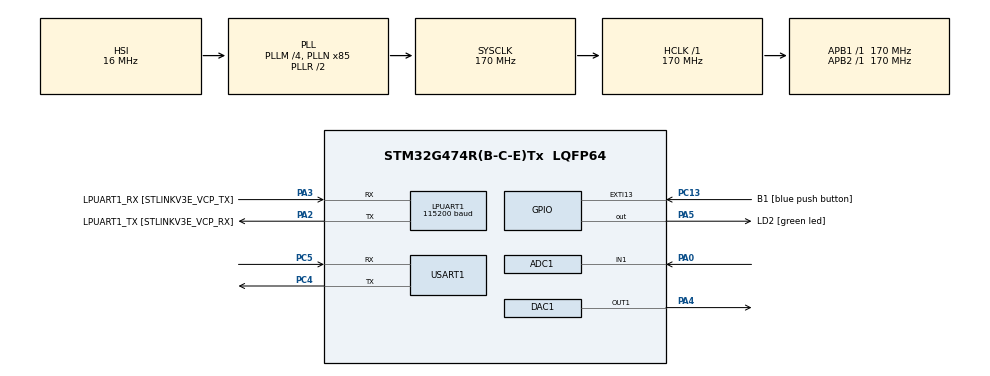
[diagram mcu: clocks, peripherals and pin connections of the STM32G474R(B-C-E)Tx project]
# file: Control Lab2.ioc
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ADC1.Channel-0\#ChannelRegularConversion=ADC_CHANNEL_1
ADC1.NbrOfConversionFlag=1
ADC1.OffsetNumber-0\#ChannelRegularConversion=ADC_OFFSET_NONE
ADC1.Rank-0\#ChannelRegularConversion=1
ADC1.SamplingTime-0\#ChannelRegularConversion=ADC_SAMPLETIME_2CYCLES_5
ADC1.master=1
LPUART1.BaudRate=115200
LPUART1.WordLength=UART_WORDLENGTH_8B
Mcu.Family=STM32G4
Mcu.Name=STM32G474R(B-C-E)Tx
Mcu.Package=LQFP64
NVIC.EXTI15_10_IRQn=true\:0\:0\:false\:false\:true\:true\:true\:true
NVIC.PriorityGroup=NVIC_PRIORITYGROUP_4
PA0.Mode=IN1-Single-Ended
PA0.Signal=ADC1_IN1
PA13.GPIO_Label=T_SWDIO
PA13.Mode=Trace_Asynchronous_SW
PA13.Signal=SYS_JTMS-SWDIO
PA14.GPIO_Label=T_SWCLK
PA14.Mode=Trace_Asynchronous_SW
PA14.Signal=SYS_JTCK-SWCLK
PA2.GPIO_Label=LPUART1_TX [STLINKV3E_VCP_RX]
PA2.Mode=Asynchronous
PA2.Signal=LPUART1_TX
PA3.GPIO_Label=LPUART1_RX [STLINKV3E_VCP_TX]
PA3.Mode=Asynchronous
PA3.Signal=LPUART1_RX
PA4.Signal=COMP_DAC11_group
PA5.GPIO_Label=LD2 [green led]
PA5.Signal=GPIO_Output
PB3.GPIO_Label=T_SWO
PB3.Mode=Trace_Asynchronous_SW
PB3.Signal=SYS_JTDO-SWO
PC13.GPIO_Label=B1 [blue push button]
PC13.Signal=GPXTI13
PC14-OSC32_IN.Mode=LSE-External-Oscillator
PC14-OSC32_IN.Signal=RCC_OSC32_IN
PC15-OSC32_OUT.Mode=LSE-External-Oscillator
PC15-OSC32_OUT.Signal=RCC_OSC32_OUT
PC4.Mode=Asynchronous
PC4.Signal=USART1_TX
PC5.Mode=Asynchronous
PC5.Signal=USART1_RX
PF0-OSC_IN.Mode=HSE-External-Oscillator
PF0-OSC_IN.Signal=RCC_OSC_IN
PF1-OSC_OUT.Mode=HSE-External-Oscillator
PF1-OSC_OUT.Signal=RCC_OSC_OUT
ProjectManager.HeapSize=0x200
ProjectManager.StackSize=0x400
ProjectManager.TargetToolchain=STM32CubeIDE
RCC.ADC12Freq_Value=170000000
RCC.ADC345Freq_Value=170000000
RCC.AHBFreq_Value=170000000
RCC.APB1Freq_Value=170000000
RCC.APB1TimFreq_Value=170000000
RCC.APB2Freq_Value=170000000
RCC.APB2TimFreq_Value=170000000
RCC.CortexFreq_Value=170000000
RCC.EXTERNAL_CLOCK_VALUE=12288000
RCC.HCLKFreq_Value=170000000
RCC.HSE_VALUE=24000000
RCC.HSI48_VALUE=48000000
RCC.HSI_VALUE=16000000
RCC.PLLM=RCC_PLLM_DIV4
RCC.PLLN=85
RCC.RTCClockSelection=RCC_RTCCLKSOURCE_LSE
RCC.SYSCLKFreq_VALUE=170000000
RCC.SYSCLKSource=RCC_SYSCLKSOURCE_PLLCLK
RCC.USBFreq_Value=170000000
RCC.VCOOutputFreq_Value=340000000
SH.COMP_DAC11_group.0=DAC1_OUT1,DAC_OUT1
USART1.VirtualMode-Asynchronous=VM_ASYNC
VP_SYS_VS_DBSignals.Mode=DisableDeadBatterySignals
board=NUCLEO-G474RE

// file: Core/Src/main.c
/* USER CODE BEGIN Header */
/**
  ******************************************************************************
  * @file           : main.c
  * @brief          : Main program body
  ******************************************************************************
  * @attention
  *
  * Copyright (c) 2024 STMicroelectronics.
  * All rights reserved.
  *
  * This software is licensed under terms that can be found in the LICENSE file
  * in the root directory of this software component.
  * If no LICENSE file comes with this software, it is provided AS-IS.
  *
  ******************************************************************************
  */
/* USER CODE END Header */
#include "main.h"

ADC_HandleTypeDef hadc1;

DAC_HandleTypeDef hdac1;

UART_HandleTypeDef hlpuart1;
UART_HandleTypeDef huart1;

/* USER CODE BEGIN PV */
uint16_t DAC_Output=0;

struct _ADC_tag
{
	ADC_ChannelConfTypeDef Config;
	uint16_t data;
};

struct _ADC_tag ADC1_Channel[1] =
{
	{
	.Config.Channel = ADC_CHANNEL_1,
	.Config.Rank = ADC_REGULAR_RANK_1,
	.Config.SamplingTime = ADC_SAMPLETIME_640CYCLES_5,
	.Config.SingleDiff = ADC_SINGLE_ENDED,
	.Config.OffsetNumber = ADC_OFFSET_NONE,
	.Config.Offset = 0,
	.data = 0
	},
};

float K_t = 0.0792;
float T = 1;
float y = 0; // omega
float J = 0.00371;
float L = 0.09;
float R = 22.88;
float B = 0.00106;
float K_e = 0.0792;
float y_n = 0;
float y_n_1 = 0;
float y_n_2 = 0;
float y_out = 0;
float V_in = 0;
int x = 0;
/* USER CODE END PV */

void SystemClock_Config(void);
static void MX_GPIO_Init(void);
static void MX_LPUART1_UART_Init(void);
static void MX_ADC1_Init(void);
static void MX_DAC1_Init(void);
static void MX_USART1_UART_Init(void);
/* USER CODE BEGIN PFP */
void DAC_Update();
void ADC_Read_blocking();
/* USER CODE END PFP */

int main(void)
{

  /* MCU Configuration--------------------------------------------------------*/

  /* Reset of all peripherals, Initializes the Flash interface and the Systick. */
  HAL_Init();

  /* Configure the system clock */
  SystemClock_Config();

  /* Initialize all configured peripherals */
  MX_GPIO_Init();
  MX_LPUART1_UART_Init();
  MX_ADC1_Init();
  MX_DAC1_Init();
  MX_USART1_UART_Init();
  /* USER CODE BEGIN 2 */
  HAL_ADCEx_Calibration_Start(&hadc1, ADC_SINGLE_ENDED);
  HAL_DAC_SetValue(&hdac1, DAC_CHANNEL_1, DAC_ALIGN_12B_R, 2048);
  HAL_DAC_Start(&hdac1, DAC_CHANNEL_1);
  float num;
  float den;
  /* USER CODE END 2 */

  /* Infinite loop */
  while (1)
  {

    /* USER CODE BEGIN 3 */
	  static uint32_t timeStamp =0;
	  if(HAL_GetTick()>timeStamp)
	  {
		  timeStamp = HAL_GetTick()+500;
		  ADC_Read_blocking();
		  V_in = ADC1_Channel[0].data*12/4096;

		  num = (V_in*K_t*T*T) -(y_n_2*J*L) + (y_n_1*(2*J*L+J*T*R+B*L*T));
		  den = J*L+J*T*R+B*L*T+R*B*T*T+K_t*K_e*T*T;

		  y = num / den;

		  y_n_2 = y_n_1;
		  y_n_1 = y;

		  y_out = (1.65+(y/100)) * 2048 / 3.3;
		  DAC_Update();

	  }
  }
  /* USER CODE END 3 */
}

void SystemClock_Config(void)
{
  RCC_OscInitTypeDef RCC_OscInitStruct = {0};
  RCC_ClkInitTypeDef RCC_ClkInitStruct = {0};

  /** Configure the main internal regulator output voltage
  */
  HAL_PWREx_ControlVoltageScaling(PWR_REGULATOR_VOLTAGE_SCALE1_BOOST);

  /** Initializes the RCC Oscillators according to the specified parameters
  * in the RCC_OscInitTypeDef structure.
  */
  RCC_OscInitStruct.OscillatorType = RCC_OSCILLATORTYPE_HSI;
  RCC_OscInitStruct.HSIState = RCC_HSI_ON;
  RCC_OscInitStruct.HSICalibrationValue = RCC_HSICALIBRATION_DEFAULT;
  RCC_OscInitStruct.PLL.PLLState = RCC_PLL_ON;
  RCC_OscInitStruct.PLL.PLLSource = RCC_PLLSOURCE_HSI;
  RCC_OscInitStruct.PLL.PLLM = RCC_PLLM_DIV4;
  RCC_OscInitStruct.PLL.PLLN = 85;
  RCC_OscInitStruct.PLL.PLLP = RCC_PLLP_DIV2;
  RCC_OscInitStruct.PLL.PLLQ = RCC_PLLQ_DIV2;
  RCC_OscInitStruct.PLL.PLLR = RCC_PLLR_DIV2;
  if (HAL_RCC_OscConfig(&RCC_OscInitStruct) != HAL_OK)
  {
    Error_Handler();
  }

  /** Initializes the CPU, AHB and APB buses clocks
  */
  RCC_ClkInitStruct.ClockType = RCC_CLOCKTYPE_HCLK|RCC_CLOCKTYPE_SYSCLK
                              |RCC_CLOCKTYPE_PCLK1|RCC_CLOCKTYPE_PCLK2;
  RCC_ClkInitStruct.SYSCLKSource = RCC_SYSCLKSOURCE_PLLCLK;
  RCC_ClkInitStruct.AHBCLKDivider = RCC_SYSCLK_DIV1;
  RCC_ClkInitStruct.APB1CLKDivider = RCC_HCLK_DIV1;
  RCC_ClkInitStruct.APB2CLKDivider = RCC_HCLK_DIV1;

  if (HAL_RCC_ClockConfig(&RCC_ClkInitStruct, FLASH_LATENCY_4) != HAL_OK)
  {
    Error_Handler();
  }
}

static void MX_ADC1_Init(void)
{

  ADC_MultiModeTypeDef multimode = {0};
  ADC_ChannelConfTypeDef sConfig = {0};

  /** Common config
  */
  hadc1.Instance = ADC1;
  hadc1.Init.ClockPrescaler = ADC_CLOCK_SYNC_PCLK_DIV4;
  hadc1.Init.Resolution = ADC_RESOLUTION_12B;
  hadc1.Init.DataAlign = ADC_DATAALIGN_RIGHT;
  hadc1.Init.GainCompensation = 0;
  hadc1.Init.ScanConvMode = ADC_SCAN_DISABLE;
  hadc1.Init.EOCSelection = ADC_EOC_SINGLE_CONV;
  hadc1.Init.LowPowerAutoWait = DISABLE;
  hadc1.Init.ContinuousConvMode = DISABLE;
  hadc1.Init.NbrOfConversion = 1;
  hadc1.Init.DiscontinuousConvMode = DISABLE;
  hadc1.Init.ExternalTrigConv = ADC_SOFTWARE_START;
  hadc1.Init.ExternalTrigConvEdge = ADC_EXTERNALTRIGCONVEDGE_NONE;
  hadc1.Init.DMAContinuousRequests = DISABLE;
  hadc1.Init.Overrun = ADC_OVR_DATA_PRESERVED;
  hadc1.Init.OversamplingMode = DISABLE;
  if (HAL_ADC_Init(&hadc1) != HAL_OK)
  {
    Error_Handler();
  }

  /** Configure the ADC multi-mode
  */
  multimode.Mode = ADC_MODE_INDEPENDENT;
  if (HAL_ADCEx_MultiModeConfigChannel(&hadc1, &multimode) != HAL_OK)
  {
    Error_Handler();
  }

  /** Configure Regular Channel
  */
  sConfig.Channel = ADC_CHANNEL_1;
  sConfig.Rank = ADC_REGULAR_RANK_1;
  sConfig.SamplingTime = ADC_SAMPLETIME_2CYCLES_5;
  sConfig.SingleDiff = ADC_SINGLE_ENDED;
  sConfig.OffsetNumber = ADC_OFFSET_NONE;
  sConfig.Offset = 0;
  if (HAL_ADC_ConfigChannel(&hadc1, &sConfig) != HAL_OK)
  {
    Error_Handler();
  }

}

static void MX_DAC1_Init(void)
{

  DAC_ChannelConfTypeDef sConfig = {0};

  /** DAC Initialization
  */
  hdac1.Instance = DAC1;
  if (HAL_DAC_Init(&hdac1) != HAL_OK)
  {
    Error_Handler();
  }

  /** DAC channel OUT1 config
  */
  sConfig.DAC_HighFrequency = DAC_HIGH_FREQUENCY_INTERFACE_MODE_AUTOMATIC;
  sConfig.DAC_DMADoubleDataMode = DISABLE;
  sConfig.DAC_SignedFormat = DISABLE;
  sConfig.DAC_SampleAndHold = DAC_SAMPLEANDHOLD_DISABLE;
  sConfig.DAC_Trigger = DAC_TRIGGER_NONE;
  sConfig.DAC_Trigger2 = DAC_TRIGGER_NONE;
  sConfig.DAC_OutputBuffer = DAC_OUTPUTBUFFER_ENABLE;
  sConfig.DAC_ConnectOnChipPeripheral = DAC_CHIPCONNECT_EXTERNAL;
  sConfig.DAC_UserTrimming = DAC_TRIMMING_FACTORY;
  if (HAL_DAC_ConfigChannel(&hdac1, &sConfig, DAC_CHANNEL_1) != HAL_OK)
  {
    Error_Handler();
  }

}

static void MX_LPUART1_UART_Init(void)
{

  hlpuart1.Instance = LPUART1;
  hlpuart1.Init.BaudRate = 115200;
  hlpuart1.Init.WordLength = UART_WORDLENGTH_8B;
  hlpuart1.Init.StopBits = UART_STOPBITS_1;
  hlpuart1.Init.Parity = UART_PARITY_NONE;
  hlpuart1.Init.Mode = UART_MODE_TX_RX;
  hlpuart1.Init.HwFlowCtl = UART_HWCONTROL_NONE;
  hlpuart1.Init.OneBitSampling = UART_ONE_BIT_SAMPLE_DISABLE;
  hlpuart1.Init.ClockPrescaler = UART_PRESCALER_DIV1;
  hlpuart1.AdvancedInit.AdvFeatureInit = UART_ADVFEATURE_NO_INIT;
  if (HAL_UART_Init(&hlpuart1) != HAL_OK)
  {
    Error_Handler();
  }
  if (HAL_UARTEx_SetTxFifoThreshold(&hlpuart1, UART_TXFIFO_THRESHOLD_1_8) != HAL_OK)
  {
    Error_Handler();
  }
  if (HAL_UARTEx_SetRxFifoThreshold(&hlpuart1, UART_RXFIFO_THRESHOLD_1_8) != HAL_OK)
  {
    Error_Handler();
  }
  if (HAL_UARTEx_DisableFifoMode(&hlpuart1) != HAL_OK)
  {
    Error_Handler();
  }

}

static void MX_USART1_UART_Init(void)
{

  huart1.Instance = USART1;
  huart1.Init.BaudRate = 115200;
  huart1.Init.WordLength = UART_WORDLENGTH_8B;
  huart1.Init.StopBits = UART_STOPBITS_1;
  huart1.Init.Parity = UART_PARITY_NONE;
  huart1.Init.Mode = UART_MODE_TX_RX;
  huart1.Init.HwFlowCtl = UART_HWCONTROL_NONE;
  huart1.Init.OverSampling = UART_OVERSAMPLING_16;
  huart1.Init.OneBitSampling = UART_ONE_BIT_SAMPLE_DISABLE;
  huart1.Init.ClockPrescaler = UART_PRESCALER_DIV1;
  huart1.AdvancedInit.AdvFeatureInit = UART_ADVFEATURE_NO_INIT;
  if (HAL_UART_Init(&huart1) != HAL_OK)
  {
    Error_Handler();
  }
  if (HAL_UARTEx_SetTxFifoThreshold(&huart1, UART_TXFIFO_THRESHOLD_1_8) != HAL_OK)
  {
    Error_Handler();
  }
  if (HAL_UARTEx_SetRxFifoThreshold(&huart1, UART_RXFIFO_THRESHOLD_1_8) != HAL_OK)
  {
    Error_Handler();
  }
  if (HAL_UARTEx_DisableFifoMode(&huart1) != HAL_OK)
  {
    Error_Handler();
  }

}

static void MX_GPIO_Init(void)
{
  GPIO_InitTypeDef GPIO_InitStruct = {0};

  /* GPIO Ports Clock Enable */
  __HAL_RCC_GPIOC_CLK_ENABLE();
  __HAL_RCC_GPIOF_CLK_ENABLE();
  __HAL_RCC_GPIOA_CLK_ENABLE();
  __HAL_RCC_GPIOB_CLK_ENABLE();

  /*Configure GPIO pin Output Level */
  HAL_GPIO_WritePin(LD2_GPIO_Port, LD2_Pin, GPIO_PIN_RESET);

  /*Configure GPIO pin : B1_Pin */
  GPIO_InitStruct.Pin = B1_Pin;
  GPIO_InitStruct.Mode = GPIO_MODE_IT_RISING;
  GPIO_InitStruct.Pull = GPIO_NOPULL;
  HAL_GPIO_Init(B1_GPIO_Port, &GPIO_InitStruct);

  /*Configure GPIO pin : LD2_Pin */
  GPIO_InitStruct.Pin = LD2_Pin;
  GPIO_InitStruct.Mode = GPIO_MODE_OUTPUT_PP;
  GPIO_InitStruct.Pull = GPIO_NOPULL;
  GPIO_InitStruct.Speed = GPIO_SPEED_FREQ_LOW;
  HAL_GPIO_Init(LD2_GPIO_Port, &GPIO_InitStruct);

  /* EXTI interrupt init*/
  HAL_NVIC_SetPriority(EXTI15_10_IRQn, 0, 0);
  HAL_NVIC_EnableIRQ(EXTI15_10_IRQn);

}

/* USER CODE BEGIN 4 */
void ADC_Read_blocking()
{

	HAL_ADC_ConfigChannel(&hadc1, &ADC1_Channel[0].Config);
	HAL_ADC_Start(&hadc1);
	HAL_ADC_PollForConversion(&hadc1, 100);
	ADC1_Channel[0].data = HAL_ADC_GetValue(&hadc1);
	HAL_ADC_Stop(&hadc1);
}

void DAC_Update()
{
	HAL_DAC_SetValue(&hdac1, DAC_CHANNEL_1, DAC_ALIGN_12B_R, y_out);
}
/* USER CODE END 4 */

void Error_Handler(void)
{
  __disable_irq();
  while (1)
  {
  }
}
